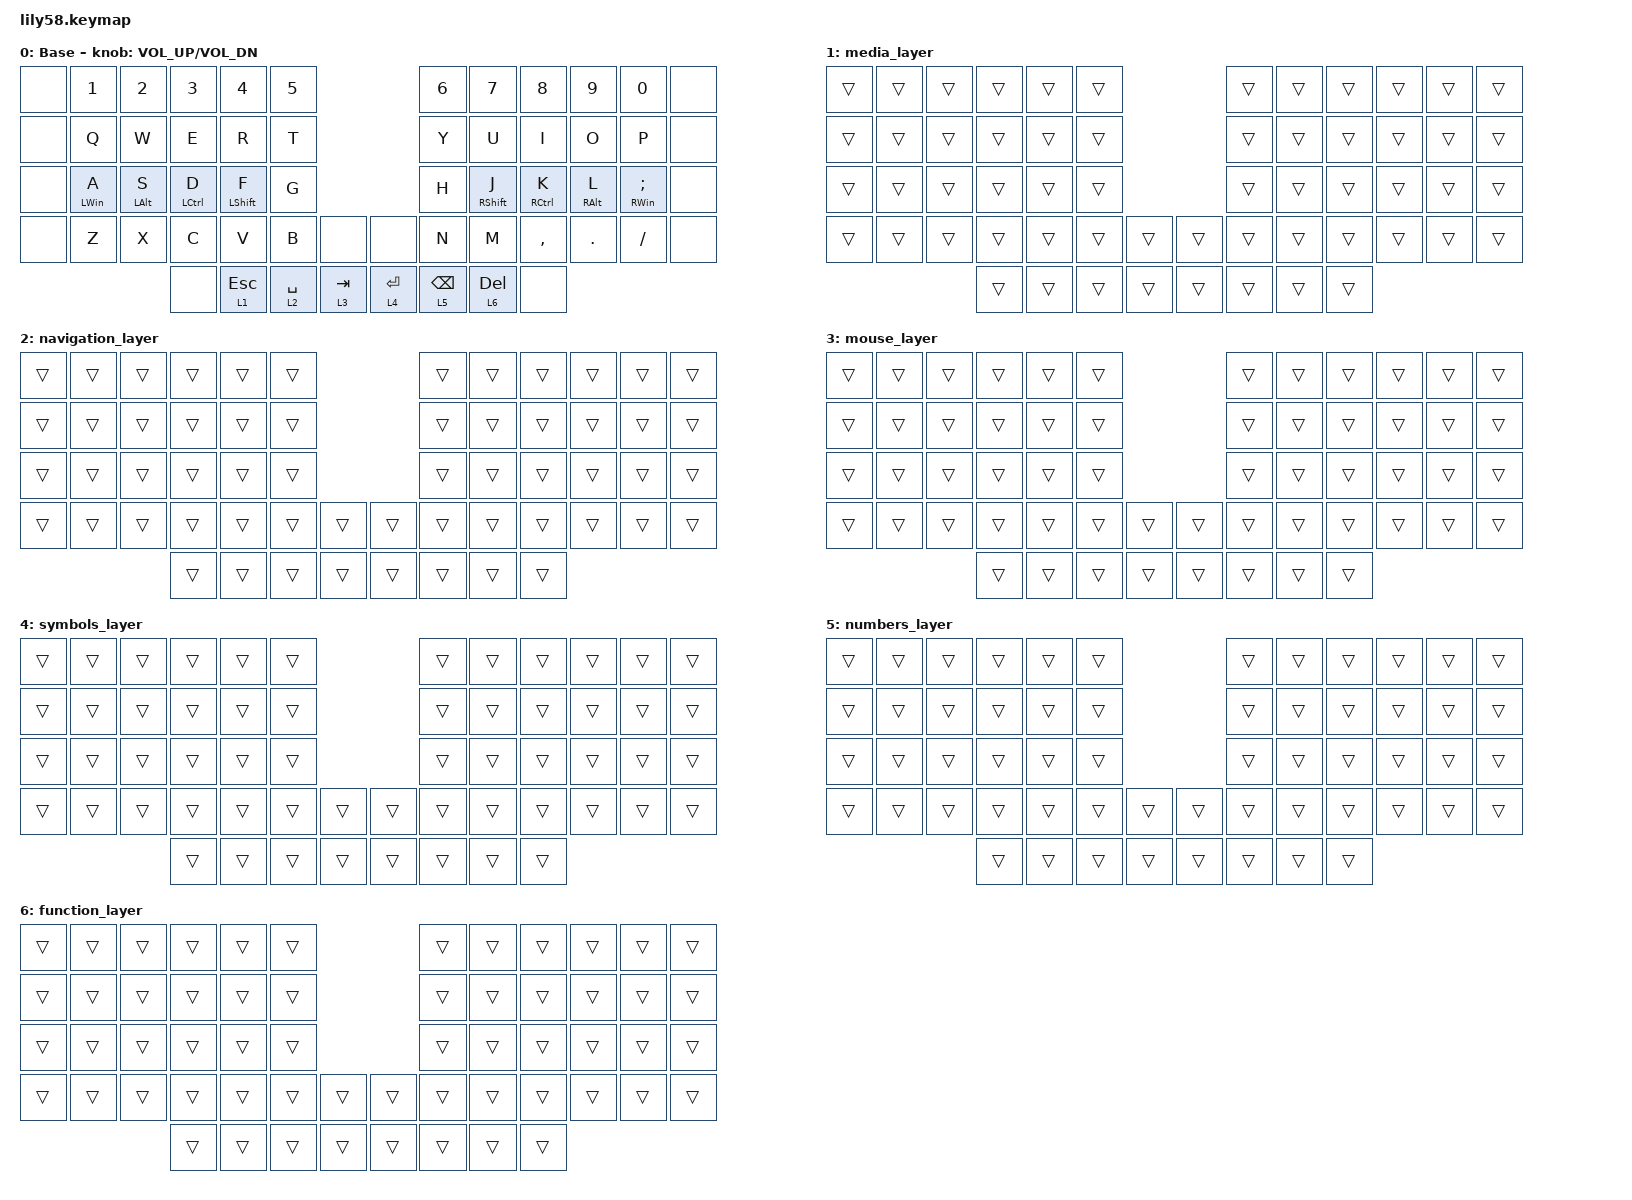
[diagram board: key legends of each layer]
/*
 * Copyright (c) 2020 The ZMK Contributors
 *
 * SPDX-License-Identifier: MIT
 */

#include <behaviors.dtsi>
#include <dt-bindings/zmk/keys.h>

/ {
    macros {
        cursorWordPartRight: cursorWordPartRight {
            compatible = "zmk,behavior-macro";
            #binding-cells = <0>;
            bindings = <&kp LEFT_SHIFT &kp LEFT_ALT &kp Q>;
            label = "CURSORWORDPARTRIGHT";
        };

        cursorWordPartLeft: cursorWordPartLeft {
            compatible = "zmk,behavior-macro";
            #binding-cells = <0>;
            bindings = <&none>;
            label = "CURSORWORDPARTLEFT";
        };
    };

    behaviors {
        ht: hold_tap {
            compatible = "zmk,behavior-hold-tap";
            label = "Hold/Tap";
            bindings = <&kp>, <&kp>;

            #binding-cells = <2>;
            tapping-term-ms = <150>;
            require-prior-idle-ms = <125>;
            flavor = "tap-preferred";
        };
    };

    keymap {
        compatible = "zmk,keymap";

        default_layer {
            // ------------------------------------------------------------------------------------------------------------
            // |  ESC  |  1  |  2  |  3   |  4   |  5   |                   |  6   |  7    |  8    |  9   |   0   |   `   |
            // |  TAB  |  Q  |  W  |  E   |  R   |  T   |                   |  Y   |  U    |  I    |  O   |   P   |   -   |
            // |  CTRL |  A  |  S  |  D   |  F   |  G   |                   |  H   |  J    |  K    |  L   |   ;   |   '   |
            // | SHIFT |  Z  |  X  |  C   |  V   |  B   |   "["  |  |  "]"  |  N   |  M    |  ,    |  .   |   /   | SHIFT |
            //                     | ALT  | GUI  | LOWER|  SPACE |  | ENTER | RAISE| BSPC  | GUI   |

            display-name = "Base";
            bindings = <
&none  &kp N1          &kp N2          &kp N3              &kp N4            &kp N5                                 &kp N6           &kp N7             &kp N8               &kp N9           &kp N0                   &none
&none  &kp Q           &kp W           &kp E               &kp R             &kp T                                  &kp Y            &kp U              &kp I                &kp O            &kp P                    &none
&none  &ht LEFT_WIN A  &ht LEFT_ALT S  &ht LEFT_CONTROL D  &ht LEFT_SHIFT F  &kp G                                  &kp H            &ht RIGHT_SHIFT J  &ht RIGHT_CONTROL K  &ht RIGHT_ALT L  &ht RIGHT_WIN SEMICOLON  &none
&none  &kp Z           &kp X           &kp C               &kp V             &kp B        &none        &none        &kp N            &kp M              &kp COMMA            &kp DOT          &kp SLASH                &none
                                       &none               &lt 1 ESCAPE      &lt 2 SPACE  &lt 3 TAB    &lt 4 ENTER  &lt 5 BACKSPACE  &lt 6 DELETE       &none
            >;

            sensor-bindings = <&inc_dec_kp C_VOL_UP C_VOL_DN>;
        };

        media_layer {
            bindings = <
&trans  &trans  &trans  &trans  &trans  &trans                    &trans  &trans  &trans  &trans  &trans  &trans
&trans  &trans  &trans  &trans  &trans  &trans                    &trans  &trans  &trans  &trans  &trans  &trans
&trans  &trans  &trans  &trans  &trans  &trans                    &trans  &trans  &trans  &trans  &trans  &trans
&trans  &trans  &trans  &trans  &trans  &trans  &trans    &trans  &trans  &trans  &trans  &trans  &trans  &trans
                        &trans  &trans  &trans  &trans    &trans  &trans  &trans  &trans
            >;
        };

        navigation_layer {
            bindings = <
&trans  &trans  &trans  &trans  &trans  &trans                    &trans  &trans  &trans  &trans  &trans  &trans
&trans  &trans  &trans  &trans  &trans  &trans                    &trans  &trans  &trans  &trans  &trans  &trans
&trans  &trans  &trans  &trans  &trans  &trans                    &trans  &trans  &trans  &trans  &trans  &trans
&trans  &trans  &trans  &trans  &trans  &trans  &trans    &trans  &trans  &trans  &trans  &trans  &trans  &trans
                        &trans  &trans  &trans  &trans    &trans  &trans  &trans  &trans
            >;
        };

        mouse_layer {
            bindings = <
&trans  &trans  &trans  &trans  &trans  &trans                    &trans  &trans  &trans  &trans  &trans  &trans
&trans  &trans  &trans  &trans  &trans  &trans                    &trans  &trans  &trans  &trans  &trans  &trans
&trans  &trans  &trans  &trans  &trans  &trans                    &trans  &trans  &trans  &trans  &trans  &trans
&trans  &trans  &trans  &trans  &trans  &trans  &trans    &trans  &trans  &trans  &trans  &trans  &trans  &trans
                        &trans  &trans  &trans  &trans    &trans  &trans  &trans  &trans
            >;
        };

        symbols_layer {
            bindings = <
&trans  &trans  &trans  &trans  &trans  &trans                    &trans  &trans  &trans  &trans  &trans  &trans
&trans  &trans  &trans  &trans  &trans  &trans                    &trans  &trans  &trans  &trans  &trans  &trans
&trans  &trans  &trans  &trans  &trans  &trans                    &trans  &trans  &trans  &trans  &trans  &trans
&trans  &trans  &trans  &trans  &trans  &trans  &trans    &trans  &trans  &trans  &trans  &trans  &trans  &trans
                        &trans  &trans  &trans  &trans    &trans  &trans  &trans  &trans
            >;
        };

        numbers_layer {
            bindings = <
&trans  &trans  &trans  &trans  &trans  &trans                    &trans  &trans  &trans  &trans  &trans  &trans
&trans  &trans  &trans  &trans  &trans  &trans                    &trans  &trans  &trans  &trans  &trans  &trans
&trans  &trans  &trans  &trans  &trans  &trans                    &trans  &trans  &trans  &trans  &trans  &trans
&trans  &trans  &trans  &trans  &trans  &trans  &trans    &trans  &trans  &trans  &trans  &trans  &trans  &trans
                        &trans  &trans  &trans  &trans    &trans  &trans  &trans  &trans
            >;
        };

        function_layer {
            bindings = <
&trans  &trans  &trans  &trans  &trans  &trans                    &trans  &trans  &trans  &trans  &trans  &trans
&trans  &trans  &trans  &trans  &trans  &trans                    &trans  &trans  &trans  &trans  &trans  &trans
&trans  &trans  &trans  &trans  &trans  &trans                    &trans  &trans  &trans  &trans  &trans  &trans
&trans  &trans  &trans  &trans  &trans  &trans  &trans    &trans  &trans  &trans  &trans  &trans  &trans  &trans
                        &trans  &trans  &trans  &trans    &trans  &trans  &trans  &trans
            >;
        };
    };

    conditional_layers {
        compatible = "zmk,conditional-layers";

        then_layer {
            if-layers = <1 1>;
            then-layer = <1>;
        };
    };
};
